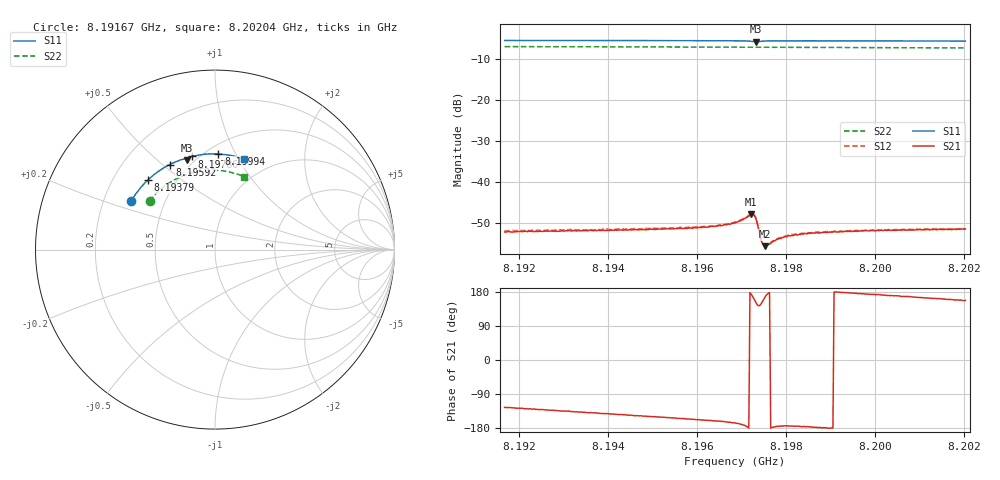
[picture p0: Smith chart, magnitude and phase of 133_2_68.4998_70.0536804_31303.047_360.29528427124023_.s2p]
#  HZ  S  RI  R  50.00
! Rohde & Schwarz Vector Network Analyzer
! Rohde-Schwarz,ZNB20-2Port,1311601062101988,3.16
! Created: UTC 3/20/2024, 5:09:42 PM
! freq[Hz]  re:S11  im:S11  re:S21  im:S21  re:S12  im:S12  re:S22  im:S22
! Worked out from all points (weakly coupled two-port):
!   401 points, 8.19167 GHz to 8.20204 GHz, reference 50 ohm
!   highest |S21| = -47.93 dB at 8.19722 GHz (marker M1); lowest = -55.7 dB at 8.19753 GHz (marker M2)
!   lowest |S11| = -5.7 dB at 8.19732 GHz (marker M3), VSWR 3.18, Z = 22.9 + j31.3 ohm
!   |S11| at or under -10 dB: nowhere
!   |S22| runs from -7.2 to -6.9 dB; largest |S21 - S12| = 0.00022
!   S11 on the Smith chart (normalised r, x): 8.19167 GHz: 0.32, +0.24; 8.19379 GHz: 0.35, +0.38; 8.19592 GHz: 0.40, +0.53; 8.19786 GHz: 0.46, +0.67; 8.19994 GHz: 0.57, +0.86; 8.20204 GHz: 0.75, +1.06
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8.191669e9  -0.4673 0.2707  -0.00141 -0.002  -0.00152 -0.00201  -0.3649 0.2705
8.193406e9  -0.3937 0.3681  -0.00187 -0.00171  -0.00196 -0.00167  -0.2977 0.3401
8.193795e9  -0.3745 0.3873  -0.00197 -0.00162  -0.00208 -0.00159  -0.2808 0.3537
8.195143e9  -0.2999 0.4462  -0.0023 -0.00132  -0.00237 -0.00126  -0.217 0.3938
8.195921e9  -0.2523 0.4741  -0.00253 -0.00109  -0.00261 -0.00102  -0.1772 0.4119
8.196465e9  -0.2168 0.4906  -0.00273 -0.000939  -0.0028 -0.000819  -0.1483 0.4222
8.196854e9  -0.1896 0.5004  -0.00307 -0.000752  -0.00318 -0.000669  -0.1272 0.4283
8.197035e9  -0.1756 0.5038  -0.00341 -0.000508  -0.00353 -0.000423  -0.1174 0.4308
8.197217e9  -0.1602 0.5024  -0.00399 0.00043  -0.00403 0.000601  -0.1074 0.4329
8.197269e9  -0.1574 0.4997  -0.0038 0.0011  -0.00386 0.00126  -0.1046 0.4335
8.19732e9  -0.1578 0.4971  -0.0032 0.00166  -0.00316 0.00188  -0.1017 0.434
8.197346e9  -0.1588 0.497  -0.00271 0.00175  -0.0027 0.00188  -0.1003 0.4343
8.19745e9  -0.1588 0.5039  -0.00162 0.000944  -0.00164 0.00101  -0.0948 0.4356
8.197502e9  -0.1557 0.5075  -0.00161 0.000572  -0.00157 0.000625  -0.0919 0.4362
8.197528e9  -0.1538 0.5089  -0.00159 0.000401  -0.0016 0.000473  -0.0904 0.4364
8.19758e9  -0.1499 0.5113  -0.00166 0.000194  -0.00172 0.000266  -0.0874 0.4368
8.197865e9  -0.1285 0.5191  -0.00204 -0.000191  -0.00206 -0.000125  -0.0715 0.4394
8.198098e9  -0.1116 0.523  -0.00217 -0.00022  -0.00224 -0.000138  -0.0584 0.4409
8.198591e9  -0.0765 0.5291  -0.00236 -9.89e-05  -0.0024 -4.62e-05  -0.0305 0.4428
8.199939e9  0.0192 0.5329  -0.00253 0.000296  -0.00255 0.000426  0.0459 0.4389
8.200328e9  0.0466 0.5308  -0.00253 0.000448  -0.00253 0.000551  0.0678 0.4354
8.202039e9  0.1643 0.5044  -0.00244 0.00102  -0.00241 0.00111  0.1611 0.4065
